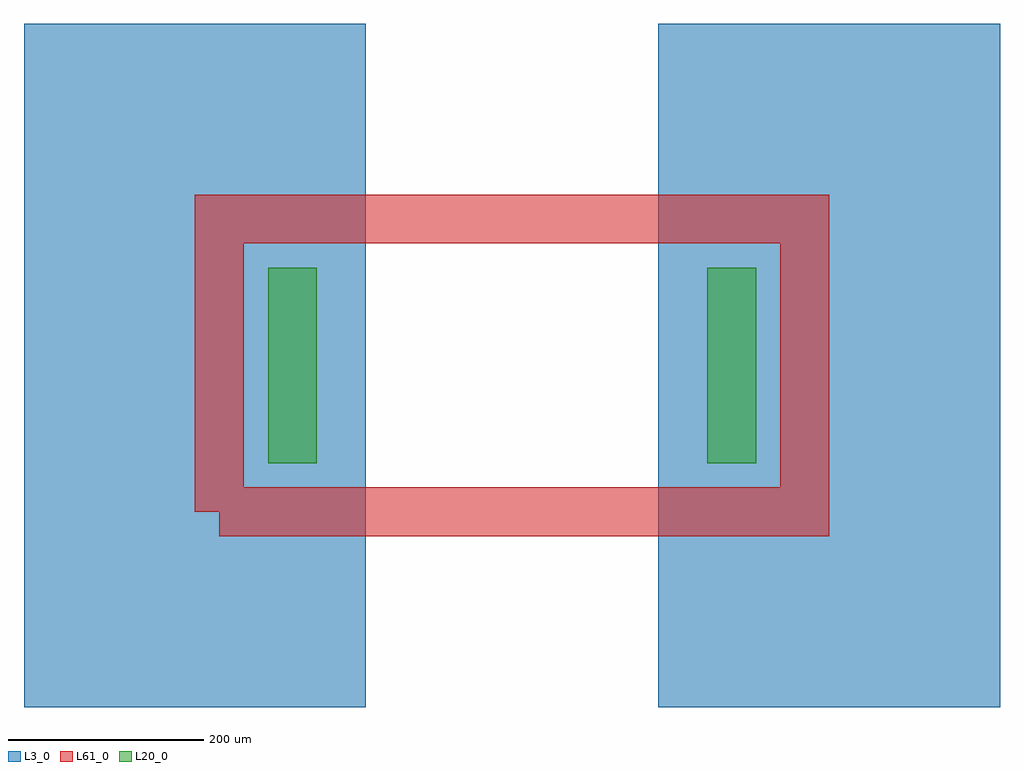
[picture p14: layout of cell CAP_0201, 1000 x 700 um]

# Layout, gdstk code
import gdstk
lib = gdstk.Library(unit=1e-6, precision=1e-09)
def R(c, l, rs):  # rectangles x0, y0, x1, y1
    for r in rs: c.add(gdstk.rectangle(r[:2], r[2:], *l))
L3_0 = (3, 0)
L20_0 = (20, 0)
L61_0 = (61, 0)

cap_0201 = lib.new_cell('CAP_0201')
R(cap_0201, L3_0, [(-200,-200,150,500), (450,-200,800,500)])
R(cap_0201, L20_0, [(50,50,100,250), (500,50,550,250)])
cap_0201.add(gdstk.FlexPath([(0,0),(600,0),(600,300),(0,300),(0,0)], 50, ends="flush", simple_path=True, layer=61, datatype=0))  # L61_0

lib.write_gds('CAP_0201.gds')
